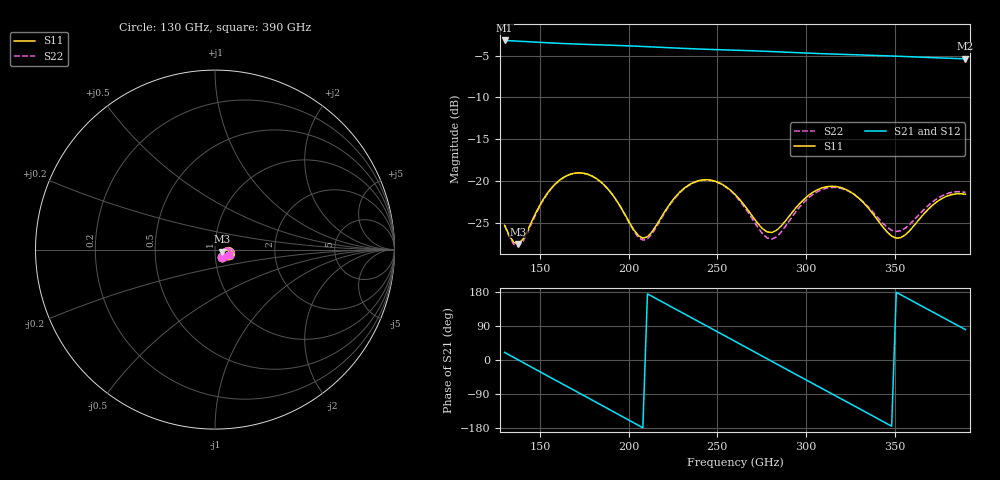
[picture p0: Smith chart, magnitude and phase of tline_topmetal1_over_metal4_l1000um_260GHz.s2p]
#  GHZ S DB R 50
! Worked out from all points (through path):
!   101 points, 130 GHz to 390 GHz, reference 50 ohm
!   highest |S21| = -3.20 dB at 130 GHz (marker M1); lowest = -5.4 dB at 390 GHz (marker M2)
!   group delay of S21, straight-line fit = 7.05 ps
!   lowest |S11| = -27.5 dB at 137.8 GHz (marker M3), VSWR 1.09, Z = 54.2 - j1.3 ohm
!   |S11| at or under -10 dB: start of sweep to end of sweep
!   |S22| runs from -27.8 to -19.0 dB; largest |S21 - S12| = 8e-14
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130  -25.29 -45.4  -3.20 20.1  -3.20 20.1  -25.34 -47.8
137.8  -27.53 -16.6  -3.28 0.0  -3.28 0.0  -27.80 -18.3
148.2  -23.57 8.3  -3.40 -26.6  -3.40 -26.6  -23.72 8.0
158.6  -20.35 1.8  -3.52 -53.0  -3.52 -53.0  -20.40 1.3
174.2  -19.06 -20.4  -3.65 -92.6  -3.65 -92.6  -19.07 -21.4
184.6  -20.17 -34.8  -3.73 -119.1  -3.73 -119.1  -20.17 -36.1
197.6  -23.89 -41.7  -3.82 -152.2  -3.82 -152.2  -23.95 -43.8
208  -26.85 -19.5  -3.92 -178.8  -3.92 -178.8  -27.09 -21.3
218.4  -24.33 4.2  -4.02 154.7  -4.02 154.7  -24.51 3.5
239.2  -19.98 -10.6  -4.21 102.0  -4.21 102.0  -20.03 -11.8
249.6  -20.09 -24.4  -4.29 75.7  -4.29 75.7  -20.14 -26.1
260  -21.61 -35.4  -4.36 49.3  -4.36 49.3  -21.72 -37.9
270.4  -24.39 -36.0  -4.44 22.8  -4.44 22.8  -24.74 -39.4
280.8  -26.17 -16.4  -4.52 -3.6  -4.52 -3.6  -26.96 -17.6
291.2  -24.05 -0.4  -4.62 -30.0  -4.62 -30.0  -24.60 1.4
304.2  -21.32 -6.0  -4.73 -62.9  -4.73 -62.9  -21.57 -3.8
325  -21.29 -30.2  -4.89 -115.4  -4.89 -115.4  -21.33 -27.5
338  -23.98 -38.0  -4.98 -148.3  -4.98 -148.3  -23.76 -34.4
348.4  -26.60 -26.3  -5.06 -174.7  -5.06 -174.7  -25.91 -23.6
358.8  -25.89 -4.5  -5.14 159.0  -5.14 159.0  -25.15 -5.7
371.8  -22.85 -2.1  -5.25 126.1  -5.25 126.1  -22.45 -4.4
390  -21.59 -20.3  -5.39 80.2  -5.39 80.2  -21.36 -22.0
